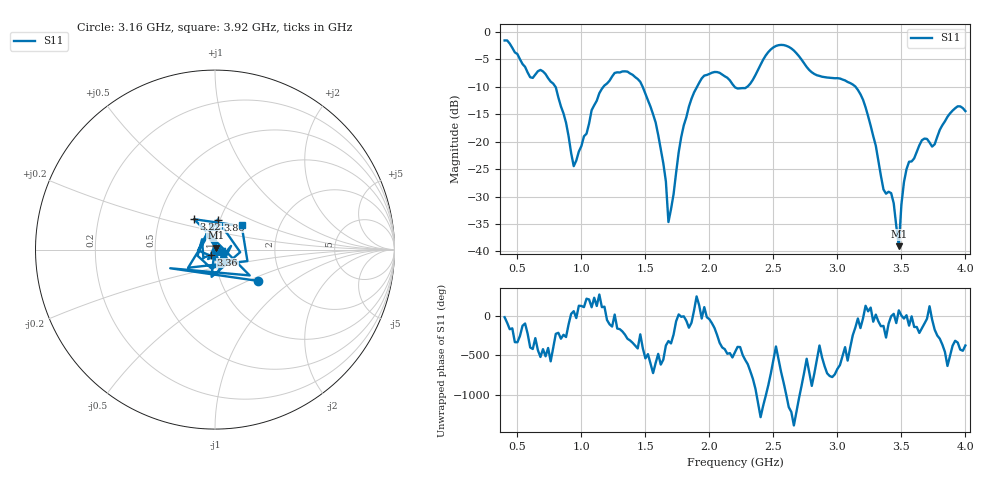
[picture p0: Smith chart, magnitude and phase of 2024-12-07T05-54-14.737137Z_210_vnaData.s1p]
!Created with skrf (http://scikit-rf.org).
# Hz S RI R 50.0
!freq ReS11 ImS11
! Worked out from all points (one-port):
!   181 points, 400 MHz to 4 GHz, reference 50 ohm
!   lowest |S11| = -39.0 dB at 3.48 GHz (marker M1), VSWR 1.02, Z = 50.4 + j1.03 ohm
!   |S11| at or under -10 dB: 796.8 MHz to 1.173 GHz (375.8 MHz wide, 38.2 % of centre); 1.478 GHz to 1.904 GHz (425.5 MHz wide, 25.2 % of centre); 3.141 GHz to end of sweep (the widest 3 of 4)
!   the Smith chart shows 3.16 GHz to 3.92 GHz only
!   S11 on the Smith chart (normalised r, x): 3.16 GHz: 1.50, -0.57; 3.22 GHz: 0.75, +0.27; 3.36 GHz: 0.95, -0.05; 3.86 GHz: 0.97, +0.34; 3.92 GHz: 1.29, +0.37
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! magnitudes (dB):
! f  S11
! 400 MHz  -1.6
! 600 MHz  -8.3
! 780 MHz  -9.4
! 860 MHz  -14.9
! 940 MHz  -24.5
! 1.14 GHz  -11.2
! 1.3 GHz  -7.4
! 1.46 GHz  -9.1
! 1.56 GHz  -15.0
! 1.64 GHz  -24.0
! 1.68 GHz  -34.7
! 1.76 GHz  -21.9
! 1.84 GHz  -13.6
! 1.94 GHz  -8.5
! 2.2 GHz  -10.1
! 2.5 GHz  -2.8
! 2.66 GHz  -3.4
! 3.1 GHz  -9.3
! 3.16 GHz  -10.6
! 3.22 GHz  -13.7
! 3.36 GHz  -28.7
! 3.42 GHz  -29.4
! 3.48 GHz  -39.0
! 3.52 GHz  -27.4
! 3.56 GHz  -23.7
! 3.86 GHz  -15.5
! 3.92 GHz  -13.9
! 4 GHz  -14.4
